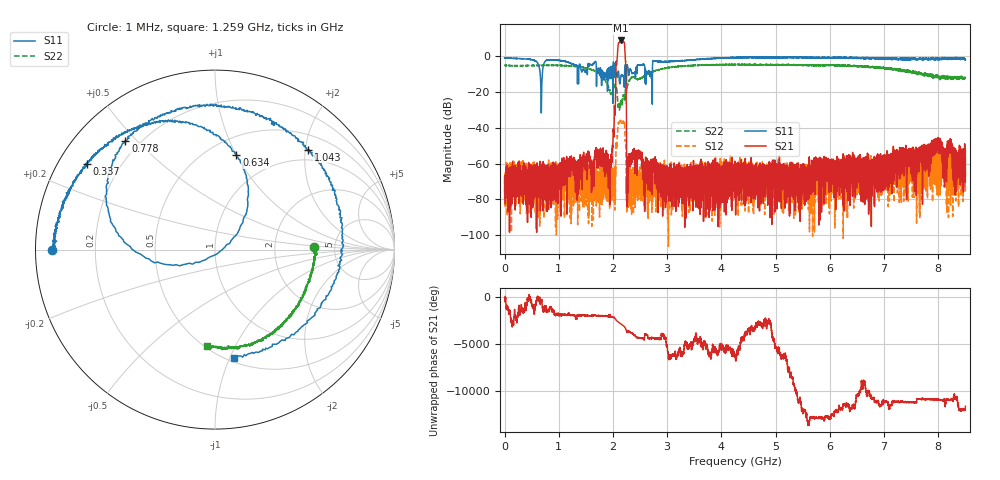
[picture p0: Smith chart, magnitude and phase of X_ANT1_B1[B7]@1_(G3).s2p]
#  HZ  S  RI  R  50.00
! Rohde & Schwarz Vector Network Analyzer
! Rohde-Schwarz,ZNBT8-20Port,1318700624101681,3.50
! Created: UTC 7/15/2025, 2:12:14 PM
! freq[Hz]  re:S1010  im:S1010  re:S0610  im:S0610  re:S1006  im:S1006  re:S66  im:S66
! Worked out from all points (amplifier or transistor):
!   8500 points, 1 MHz to 8.5 GHz, reference 50 ohm
!   highest |S21| = 9.0 dB at 2.142 GHz (marker M1)
!   |S21| within 3 dB of that: 2.093 GHz to 2.215 GHz (121.8 MHz wide, 5.65 % of centre)
!   unconditionally stable (mu >= 1): start of sweep to end of sweep
!   at 1.417 GHz: K = 5417563.72, MAG = -61.7 dB, |S12| = -81.0 dB
!   at 4.251 GHz: K = 327447.37, MAG = -57.4 dB, |S12| = -69.3 dB
!   at 8.5 GHz: K = 398310.62, MAG = -47.5 dB, |S12| = -75.7 dB
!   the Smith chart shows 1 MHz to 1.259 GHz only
!   S11 on the Smith chart (normalised r, x): 1 MHz: 0.05, -0.00; 337 MHz: 0.08, +0.30; 634 MHz: 0.67, +1.00; 778 MHz: 0.15, +0.46; 1.043 GHz: 0.77, +2.06; 1.259 GHz: 0.54, -1.04
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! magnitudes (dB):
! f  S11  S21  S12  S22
! 1 MHz  -0.8  -67.3  -76.0  -5.2
! 337 MHz  -1.3  -64.2  -65.1  -5.2
! 634 MHz  -5.3  -67.6  -68.4  -5.0
! 778 MHz  -2.1  -61.3  -66.4  -5.0
! 1.043 GHz  -2.4  -89.5  -59.9  -5.0
! 1.259 GHz  -4.2  -59.1  -63.2  -5.3
! 1.418 GHz  -8.3  -61.9  -73.2  -6.0
! 1.951 GHz  -8.3  -60.1  -66.2  -20.4
! 2.01 GHz  -3.3  -42.2  -64.1  -17.5
! 2.089 GHz  -9.6  4.2  -40.6  -27.1
! 2.142 GHz  -11.9  9.0  -35.8  -25.2
! 2.205 GHz  -14.5  7.7  -37.2  -21.7
! 2.292 GHz  -10.4  -57.4  -68.3  -14.1
! 2.834 GHz  -2.8  -67.7  -66.6  -7.5
! 4.251 GHz  -0.6  -67.8  -69.3  -4.8
! 5.667 GHz  -0.4  -74.7  -78.1  -5.0
! 7.084 GHz  -1.1  -54.8  -65.7  -6.9
! 7.986 GHz  -1.5  -51.0  -53.6  -10.9
! 8.118 GHz  -1.2  -66.5  -63.4  -11.5
! 8.228 GHz  -1.3  -53.6  -55.7  -12.5
! 8.315 GHz  -1.2  -67.7  -65.1  -12.2
! 8.5 GHz  -1.7  -52.6  -75.7  -11.9
